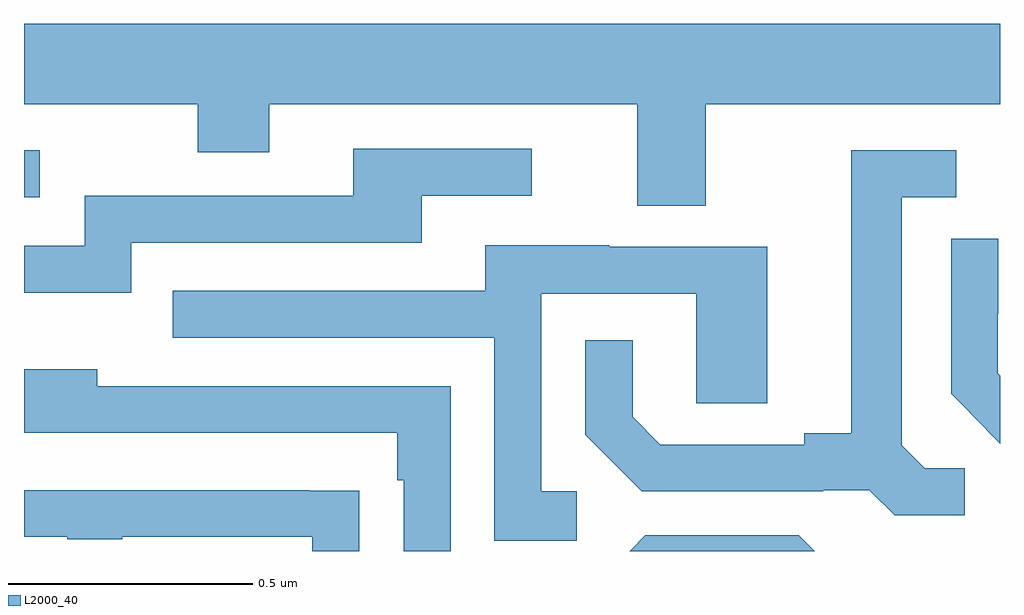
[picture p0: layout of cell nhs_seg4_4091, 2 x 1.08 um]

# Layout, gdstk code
import gdstk
lib = gdstk.Library(unit=1e-6, precision=1e-09)
def R(c, l, rs):  # rectangles x0, y0, x1, y1
    for r in rs: c.add(gdstk.rectangle(r[:2], r[2:], *l))
def P(c, l, *ps):  # polygons
    for p in ps: c.add(gdstk.Polygon(p, *l))
L2000_40 = (2000, 40)

nhs_seg4_4091 = lib.new_cell('nhs_seg4_4091')
R(nhs_seg4_4091, L2000_40, [(161,800.625,161.032,800.721)])
P(nhs_seg4_4091, L2000_40, [(162.397,800.816),(163,800.816),(163,800.98),(161,800.98),(161,800.816),(161.356,800.816),(161.356,800.717),(161.503,800.717),(161.503,800.816),(162.257,800.816),(162.257,800.608),(162.397,800.608)],
  [(161.22,800.532),(161.815,800.532),(161.815,800.628),(162.04,800.628),(162.04,800.724),(161.675,800.724),(161.675,800.628),(161.124,800.628),(161.124,800.526),(161,800.526),(161,800.429),(161.22,800.429)],
  [(162.928,800.07),(162.846,800.07),(162.799,800.117),(162.799,800.625),(162.91,800.625),(162.91,800.721),(162.695,800.721),(162.695,800.141),(162.599,800.141),(162.599,800.118),(162.304,800.118),(162.247,800.175),(162.247,800.332),(162.15,800.332),(162.15,800.138),(162.266,800.022),(162.638,800.022),(162.638,800.025),(162.732,800.025),(162.784,799.973),(162.928,799.973)],
  [(163,800.259),(162.995,800.264),(162.995,800.386),(162.996,800.386),(162.996,800.54),(162.9,800.54),(162.9,800.222),(162.973,800.149),(162.972,800.148),(163,800.12)],
  [(162.133,800.022),(162.06,800.022),(162.06,800.427),(162.378,800.427),(162.378,800.203),(162.523,800.203),(162.523,800.523),(162.199,800.523),(162.199,800.527),(161.945,800.527),(161.945,800.433),(161.305,800.433),(161.305,800.337),(161.964,800.337),(161.964,799.921),(162.133,799.921)],
  [(161.874,800.238),(161.15,800.238),(161.15,800.272),(161,800.272),(161,800.142),(161.765,800.142),(161.765,800.045),(161.778,800.045),(161.778,799.9),(161.874,799.9)],
  [(161.687,800.024),(161.585,800.024),(161.585,800.025),(161,800.025),(161,799.929),(161.089,799.929),(161.089,799.924),(161.201,799.924),(161.201,799.929),(161.591,799.929),(161.591,799.9),(161.687,799.9)],
  [(162.588,799.932),(162.273,799.932),(162.241,799.9),(162.62,799.9)])

lib.write_gds('nhs_seg4_4091.gds')
